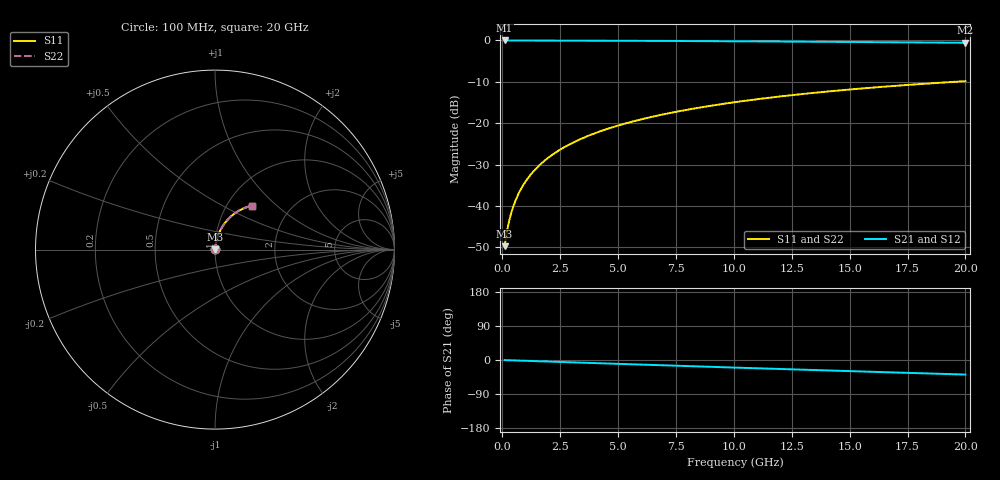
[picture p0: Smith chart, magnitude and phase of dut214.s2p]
! Touchstone file exported from HFSS 2026.1.0
!  File:  C:/ffzhzh/LocalFiles/Ansys_Project_Files/temp_train_TMRDL_214_1782984207_42984.aedt
!  Generated:  05:24:49 PM Jul  2, 2026
!  Design:  TMRDL
!  Project:  temp_train_TMRDL_214_1782984207_42984
! Variables:
!  h_bsmrdl = 2um
!  h_ox = 20um
!  h_rdl = 5um
!  h_sub = 80um
!  h_tmrdl = 4.51um
!  h_tsv = 80um
!  h_via = 3um
!  l_bsmrdl = 300um
!  l_sub = 983.8um
!  l_tmrdl = 583.8um
!  m_sub = 200um
!  pitch = 40.88um
!  r_tsv = 6um
!  s_tmrdl = 10um
!  w_bsmrdl = 18um
!  w_sub = 500um
!  w_tmrdl = 19.78um
!  x_tsv_center1 = 593.69um
!  x_tsv_center2 = 911.69um
!  x_tsv_center3 = 1515.27um
!  x_tsv_center4 = 1833.27um
!  x_tsv_center5 = 2436.85um
!  x_tsv_center6 = 2754.85um
# GHz S MA R 50.000000
! Terminal data exported
! Port[1] = TM_RDL1_1_T1
! Port[2] = TM_RDL1_1_T2
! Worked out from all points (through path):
!   200 points, 100 MHz to 20 GHz, reference 50 ohm
!   highest |S21| = -0.02 dB at 100 MHz (marker M1); lowest = -0.6 dB at 20 GHz (marker M2)
!   group delay of S21, straight-line fit = 5.33 ps
!   lowest |S11| = -49.7 dB at 100 MHz (marker M3), VSWR 1.01, Z = 50.2 + j0.213 ohm
!   |S11| at or under -10 dB: start of sweep to 19.57 GHz
!   |S22| runs from -49.7 to -9.9 dB; largest |S21 - S12| = 3.4e-15
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0.1  0.003266 40.4  0.9975 -0.2  0.9975 -0.2  0.003266 40.4
! Gamma 0 0 0 0
! Port Impedance 50 0 50 0
0.2  0.004908 57.2  0.9974 -0.4  0.9974 -0.4  0.004908 57.2
0.3  0.006682 65.0  0.9972 -0.6  0.9972 -0.6  0.006681 65.0
0.4  0.008486 69.5  0.9971 -0.8  0.9971 -0.8  0.008486 69.5
0.5  0.01031 72.5  0.997 -1.0  0.997 -1.0  0.01031 72.5
0.6  0.01216 74.6  0.997 -1.3  0.997 -1.3  0.01216 74.6
0.8  0.01588 77.2  0.9968 -1.7  0.9968 -1.7  0.01588 77.2
1.1  0.02152 79.2  0.9966 -2.3  0.9966 -2.3  0.02152 79.2
1.5  0.02908 80.3  0.9962 -3.1  0.9962 -3.1  0.02908 80.3
1.8  0.03474 80.5  0.9959 -3.7  0.9959 -3.7  0.03474 80.5
2.1  0.04039 80.4  0.9955 -4.3  0.9955 -4.3  0.04039 80.4
2.7  0.05161 79.9  0.9946 -5.5  0.9946 -5.5  0.05161 79.9
3.5  0.06639 78.8  0.9932 -7.2  0.9932 -7.2  0.06639 78.8
4.2  0.07914 77.7  0.9918 -8.6  0.9918 -8.6  0.07914 77.7
5  0.09351 76.3  0.9899 -10.2  0.9899 -10.2  0.09351 76.3
5.9  0.1094 74.7  0.9877 -12.0  0.9877 -12.0  0.1094 74.7
6.8  0.125 73.1  0.9853 -13.7  0.9853 -13.7  0.125 73.1
8.3  0.1505 70.4  0.9809 -16.7  0.9809 -16.7  0.1505 70.4
10.1  0.1801 67.2  0.9752 -20.1  0.9752 -20.1  0.1801 67.2
13.4  0.2315 61.2  0.9632 -26.4  0.9632 -26.4  0.2315 61.2
16.7  0.2787 55.4  0.9499 -32.5  0.9499 -32.5  0.2787 55.4
20  0.3215 49.7  0.9359 -38.4  0.9359 -38.4  0.3215 49.6
